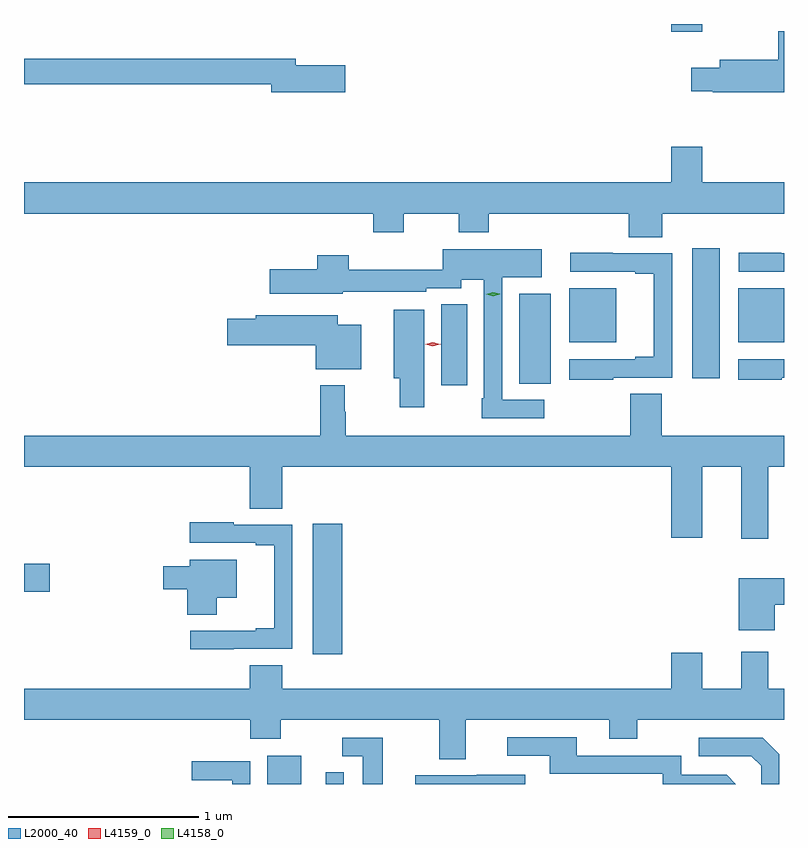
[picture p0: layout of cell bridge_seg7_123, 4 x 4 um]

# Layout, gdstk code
import gdstk
lib = gdstk.Library(unit=1e-6, precision=1e-09)
def R(c, l, rs):  # rectangles x0, y0, x1, y1
    for r in rs: c.add(gdstk.rectangle(r[:2], r[2:], *l))
def P(c, l, *ps):  # polygons
    for p in ps: c.add(gdstk.Polygon(p, *l))
L2000_40 = (2000, 40)
L4158_0 = (4158, 0)
L4159_0 = (4159, 0)

bridge_seg7_123 = lib.new_cell('bridge_seg7_123')
R(bridge_seg7_123, L2000_40, [(798.245,1010.934,798.424,1011.082), (798.552,1010.934,798.648,1010.996), (798.485,1011.618,798.641,1012.303), (796.965,1011.947,797.101,1012.094), (799.16,1013.034,799.297,1013.459), (799.571,1013.041,799.738,1013.515), (800.483,1013.07,800.626,1013.755), (799.835,1013.258,800.083,1013.542), (800.723,1013.258,800.965,1013.542), (800.372,1014.894,800.536,1014.934)])
P(bridge_seg7_123, L2000_40, [(800.965,1014.895),(800.935,1014.895),(800.935,1014.746),(800.627,1014.746),(800.627,1014.703),(800.478,1014.703),(800.478,1014.581),(800.59,1014.581),(800.59,1014.574),(800.965,1014.574)],
  [(798.655,1014.716),(798.394,1014.716),(798.394,1014.752),(796.965,1014.752),(796.965,1014.616),(798.266,1014.616),(798.266,1014.574),(798.655,1014.574)],
  [(800.324,1013.936),(800.965,1013.936),(800.965,1014.1),(800.536,1014.1),(800.536,1014.289),(800.372,1014.289),(800.372,1014.1),(796.965,1014.1),(796.965,1013.936),(798.803,1013.936),(798.803,1013.837),(798.963,1013.837),(798.963,1013.936),(799.252,1013.936),(799.252,1013.837),(799.412,1013.837),(799.412,1013.936),(800.147,1013.936),(800.147,1013.812),(800.324,1013.812)],
  [(799.702,1012.956),(799.482,1012.956),(799.482,1013.6),(799.69,1013.6),(799.69,1013.749),(799.17,1013.749),(799.17,1013.641),(798.674,1013.641),(798.674,1013.716),(798.509,1013.716),(798.509,1013.643),(798.258,1013.643),(798.258,1013.513),(798.642,1013.513),(798.642,1013.525),(799.083,1013.525),(799.083,1013.544),(799.266,1013.544),(799.266,1013.588),(799.386,1013.588),(799.386,1012.963),(799.374,1012.963),(799.374,1012.86),(799.702,1012.86)],
  [(800.965,1013.727),(800.951,1013.727),(800.951,1013.729),(800.727,1013.729),(800.727,1013.631),(800.965,1013.631)],
  [(800.066,1013.073),(800.376,1013.073),(800.376,1013.727),(800.063,1013.727),(800.063,1013.729),(799.839,1013.729),(799.839,1013.631),(800.183,1013.631),(800.183,1013.619),(800.279,1013.619),(800.279,1013.182),(800.183,1013.182),(800.183,1013.169),(799.836,1013.169),(799.836,1013.061),(800.066,1013.061)],
  [(799.072,1013.431),(798.911,1013.431),(798.911,1013.069),(798.943,1013.069),(798.943,1012.917),(799.072,1012.917)],
  [(798.739,1013.35),(798.616,1013.35),(798.616,1013.401),(798.185,1013.401),(798.185,1013.384),(798.036,1013.384),(798.036,1013.242),(798.5,1013.242),(798.5,1013.117),(798.739,1013.117)],
  [(800.954,1013.073),(800.965,1013.073),(800.965,1013.169),(800.724,1013.169),(800.724,1013.061),(800.954,1013.061)],
  [(800.881,1012.604),(800.965,1012.604),(800.965,1012.768),(800.321,1012.768),(800.321,1012.988),(800.155,1012.988),(800.155,1012.768),(798.659,1012.768),(798.659,1012.892),(798.652,1012.892),(798.652,1013.032),(798.523,1013.032),(798.523,1012.768),(796.965,1012.768),(796.965,1012.604),(798.152,1012.604),(798.152,1012.384),(798.323,1012.384),(798.323,1012.604),(800.372,1012.604),(800.372,1012.23),(800.536,1012.23),(800.536,1012.604),(800.741,1012.604),(800.741,1012.224),(800.881,1012.224)],
  [(798.068,1011.645),(798.378,1011.645),(798.378,1012.299),(798.068,1012.299),(798.068,1012.312),(797.838,1012.312),(797.838,1012.203),(798.185,1012.203),(798.185,1012.191),(798.281,1012.191),(798.281,1011.754),(798.185,1011.754),(798.185,1011.741),(797.841,1011.741),(797.841,1011.644),(798.068,1011.644)],
  [(797.979,1011.914),(798.085,1011.914),(798.085,1012.114),(797.837,1012.114),(797.837,1012.081),(797.697,1012.081),(797.697,1011.959),(797.825,1011.959),(797.825,1011.826),(797.979,1011.826)],
  [(800.917,1011.878),(800.965,1011.878),(800.965,1012.018),(800.726,1012.018),(800.726,1011.743),(800.917,1011.743)],
  [(799.291,1011.272),(800.045,1011.272),(800.045,1011.173),(800.193,1011.173),(800.193,1011.272),(800.965,1011.272),(800.965,1011.436),(800.881,1011.436),(800.881,1011.631),(800.741,1011.631),(800.741,1011.436),(800.536,1011.436),(800.536,1011.625),(800.372,1011.625),(800.372,1011.436),(798.323,1011.436),(798.323,1011.56),(798.152,1011.56),(798.152,1011.436),(796.965,1011.436),(796.965,1011.272),(798.155,1011.272),(798.155,1011.173),(798.315,1011.173),(798.315,1011.272),(799.151,1011.272),(799.151,1011.064),(799.291,1011.064)],
  [(800.664,1010.982),(800.424,1010.982),(800.424,1011.084),(799.873,1011.084),(799.873,1011.18),(799.509,1011.18),(799.509,1011.084),(799.733,1011.084),(799.733,1010.988),(800.328,1010.988),(800.328,1010.934),(800.712,1010.934)],
  [(798.853,1011.177),(798.639,1011.177),(798.639,1011.081),(798.749,1011.081),(798.749,1010.934),(798.853,1010.934)],
  [(800.94,1011.09),(800.853,1011.177),(800.517,1011.177),(800.517,1011.081),(800.793,1011.081),(800.844,1011.03),(800.844,1010.934),(800.94,1010.934)],
  [(798.156,1011.054),(797.847,1011.054),(797.847,1010.955),(798.06,1010.955),(798.06,1010.934),(798.156,1010.934)],
  [(799.603,1010.983),(799.349,1010.983),(799.349,1010.979),(799.025,1010.979),(799.025,1010.934),(799.603,1010.934)])
P(bridge_seg7_123, L4158_0, [(799.434,1013.502),(799.398,1013.511),(799.398,1013.511),(799.398,1013.511),(799.433,1013.522),(799.468,1013.513),(799.468,1013.513),(799.468,1013.512)])
P(bridge_seg7_123, L4159_0, [(799.117,1013.239),(799.076,1013.249),(799.075,1013.249),(799.076,1013.249),(799.116,1013.259),(799.157,1013.249),(799.158,1013.249),(799.157,1013.249)])

lib.write_gds('bridge_seg7_123.gds')
